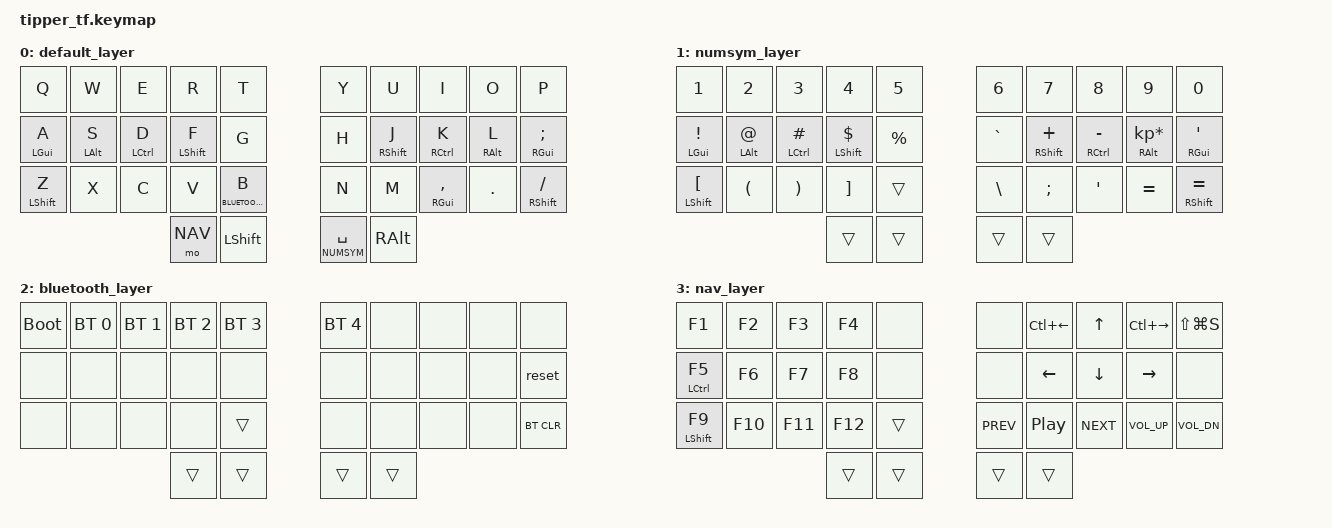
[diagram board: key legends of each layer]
#include <behaviors.dtsi>
#include <dt-bindings/zmk/keys.h>
#include <dt-bindings/zmk/bt.h>
#include <dt-bindings/zmk/outputs.h>

#define DEFAULT 	0
#define NUMSYM 		1
#define BLUETOOTH	2
#define NAV		    3

#define screenshot LS(LG(S))

//Combos 

/ {
	combos {
	compatible = "zmk,combos";
		combo_esc {
			timeout-ms = <27>;
			key-positions = <0 1>;
			bindings = <&kp ESC>;
		};
		combo_tab {
			timeout-ms = <27>;
			key-positions = <1 2>;
			bindings = <&kp TAB>;
		};
		combo_bpc {
			timeout-ms = <27>;
			key-positions = <17 18>;
			bindings = <&kp BSPC>;
		};
		combo_del {
			timeout-ms = <27>;
			key-positions = <7 8>;
			bindings = <&kp DELETE>;
		};
		combo_ent {
			timeout-ms = <27>;
			key-positions = <18 19>;
			bindings = <&kp ENTER>;
		};
		combo_ae {
            timeout-ms = <27>;
            key-positions = <10 11>;
            bindings = <&kp RA(Q) >;
        };
        combo_ue {
            timeout-ms = <27>;
            key-positions = <6 7>;
            bindings = <&kp RA(Y) >;
        };
        combo_oe {
            timeout-ms = <27>;
            key-positions = <8 9>;
            bindings = <&kp RA(P) >;
        };
        combo_ss {
            timeout-ms = <27>;
            key-positions = <11 12>;
            bindings = <&kp RA(S) >;
        };
        combo_caps {
            timeout-ms = <27>;
            key-positions = <13 16>;
            bindings = <&kp CAPS>;
        };
    };
};

//Custom tap hold behavior 

/ {
        behaviors {
        am: alpha_mods {
            compatible = "zmk,behavior-hold-tap";
            label = "ALPHA_MODS";
            #binding-cells = <2>;
            tapping_term_ms = <170>;
            flavor = "tap-preferred";
            bindings = <&kp>, <&kp>;
        };
    };

/*
Default
	.----------------------------------------------------------------------.
	|  Q  |  W  |  E  |  R  |  T  |          |  Y  |  U  |  I  |  O  |  P  |
	|  A  |  S  |  D  |  F  |  G  |          |  H  |  J  |  K  |  L  |  ;  |
	|  Z  |  X  |  C  |  V  |  B  |          |  N  |  M  |  ,  |  .  |  /  |
	'-----------------\ SYM | SFT |          | SPC | ALT /-----------------'
	                   '--------------------------------'

Numbers and symbols
	.----------------------------------------------------------------------.
	|  1  |  2  |  3  |  4  |  5  |          |  6  |  7  |  8  |  9  |  0  |
	|  !  |  @  |  #  |  $  |  %  |          |  `  |  +  |  -  |  *  |  '  |
	|  [  |  (  |  )  |  ]  |     |          |  \  |  ;  |  '  |  =  |  =  |
	'-----------------\ SYM | SFT |          | SPC | ALT /-----------------'
	                   '--------------------------------'

Bluetooth
	.----------------------------------------------------------------------.
	| BL  | BT0 | BT1 | BT2 | BT3 |     	 | BT4 |     |     |     |	   |
	|     |     |     |     |     |     	 |     |     |     |     | RST |
	|     |     |     |     |     |          |     |     |     |	 | CLR |
	'-----------------\ SYM | SFT |          | SPC | ALT /-----------------'
	                   '--------------------------------'

Navigation
	.----------------------------------------------------------------------.
	| F1  | F2  | F3  | F4  |     |          |     | ← ← |  ↑  | → → | ScS |
	| F5  | F6  | F7  | F8  |     |          |     |  ←  |  ↓  |  →  |     |
	| F9  | F10 | F11 | F12 |     |          | MPR | MPP | MNX | MVU | MVD |
	'-----------------\ SYM | SFT |          | SPC | ALT /-----------------'
	                   '--------------------------------'
*/


	keymap {
		compatible = "zmk,keymap";
		
		default_layer {
			bindings = <
	&kp Q            &kp W         &kp E         &kp R         &kp T            &kp Y            &kp U            &kp I            &kp O            &kp P
    &am LGUI A       &am LALT S    &am LCTRL D   &am LSHFT F   &kp G            &kp H            &am RSHFT J      &am RCTRL K      &am RALT L       &am RGUI SEMI
	&am LSHFT Z      &kp X         &kp C         &kp V         &lt BLUETOOTH B  &kp N            &kp M            &am RGUI CMMA    &kp DOT          &am RSHFT SLASH   
                                                 &mo NAV       &kp LSHFT        &lt NUMSYM SPACE &kp RALT  
			>;
		};
		numsym_layer {
			bindings = <
	&kp N1           &kp N2        &kp N3        &kp N4        &kp N5           &kp N6           &kp N7           &kp N8           &kp N9           &kp N0   
	&am LGUI EXCL    &am LALT AT   &am LCTRL HASH &am LSHFT DLLR &kp PERCENT    &kp GRAVE        &am RSHFT PLUS   &am RCTRL MINUS  &am RALT KP_ASTERISK &am RGUI SQT
	&am LSHFT LBKT   &kp LPAR      &kp RPAR      &kp RBKT      &trans           &kp BACKSLASH    &kp SEMICOLON    &kp SQT          &kp EQUAL        &am RSHFT EQUAL         
                                                 &trans        &trans           &trans           &trans
			>;
		};
		bluetooth_layer {
			bindings = <
	&bootloader      &bt BT_SEL 0  &bt BT_SEL 1  &bt BT_SEL 2  &bt BT_SEL 3     &bt BT_SEL 4     &none           &none             &none            &none
	&none            &none         &none         &none         &none            &none            &none           &none             &none            &reset
	&none            &none         &none         &none         &trans           &none            &none           &none             &none            &bt BT_CLR
                                                 &trans        &trans           &trans           &trans  
			>;
		};
		nav_layer {
			bindings = <
	&kp F1           &kp F2        &kp F3        &kp F4        &none            &none            &kp LC(LEFT)     &kp UP           &kp LC(RIGHT)    &kp screenshot   
	&am LCTRL F5     &kp F6        &kp F7        &kp F8        &none            &none            &kp LEFT         &kp DOWN         &kp RIGHT        &none
	&am LSHFT F9     &kp F10       &kp F11       &kp F12       &trans           &kp C_PREV       &kp C_PP         &kp C_NEXT       &kp C_VOL_UP     &kp C_VOL_DN    
                                                 &trans        &trans           &trans           &trans   
			>;
		};
	};
};
